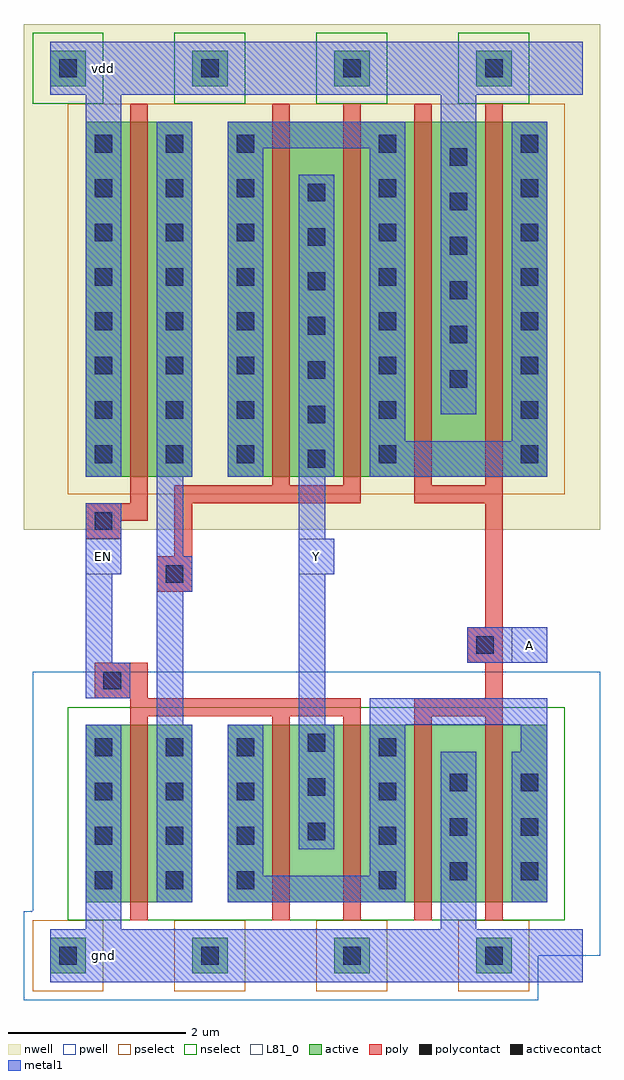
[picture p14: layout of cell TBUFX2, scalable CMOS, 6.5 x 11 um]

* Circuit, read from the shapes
.subckt TBUFX2 A EN Y gnd vdd
M1 n1 EN gnd gnd nfet w=2u l=0.2u
M2 Y EN n2 gnd nfet w=2u l=0.2u m=2
M3 gnd A n2 gnd nfet w=2u l=0.2u m=2
M4 n1 EN vdd vdd pfet w=4u l=0.2u
M5 Y n1 n3 vdd pfet w=4u l=0.2u m=2
M6 vdd A n3 vdd pfet w=4u l=0.2u m=2
.ends

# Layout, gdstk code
import gdstk
lib = gdstk.Library(unit=1e-6, precision=1e-09)
def R(c, l, rs):  # rectangles x0, y0, x1, y1
    for r in rs: c.add(gdstk.rectangle(r[:2], r[2:], *l))
def A(c, l, x, y, w, h, nx, ny, dx, dy):  # array of equal rectangles
    R(c, l, [(x+i*dx, y+j*dy, x+i*dx+w, y+j*dy+h) for i in range(nx) for j in range(ny)])
pwell = (41, 0)
nwell = (42, 0)
active = (43, 0)
pselect = (44, 0)
nselect = (45, 0)
poly = (46, 0)
polycontact = (47, 0)
activecontact = (48, 0)
metal1 = (49, 0)
L81_0 = (81, 0)

tbufx2 = lib.new_cell('TBUFX2')
R(tbufx2, pwell, [(-0.5,-0.5,5.3,0), (-0.5,0,6,0.5), (-0.4,0.5,6,3.2)])
R(tbufx2, nwell, [(-0.5,4.8,6,10.5)])
A(tbufx2, active, -0.2, -0.2, 0.4, 0.4, 4, 2, 1.6, 10)
R(tbufx2, active, [(0.2,0.6,1.4,2.6), (1.8,0.6,5.4,2.6), (0.2,5.4,1.4,9.4), (1.8,5.4,5.4,9.4)])
A(tbufx2, pselect, -0.4, -0.4, 0.8, 0.8, 4, 1, 1.6, 0)
R(tbufx2, pselect, [(0,5.2,5.6,9.6)])
A(tbufx2, nselect, -0.4, 9.6, 0.8, 0.8, 4, 1, 1.6, 0)
R(tbufx2, nselect, [(0,0.4,5.6,2.8)])
A(tbufx2, poly, 2.3, 0.4, 0.2, 2.3, 4, 1, 0.8, 0)
A(tbufx2, poly, 2.3, 5.3, 0.2, 4.3, 4, 1, 0.8, 0)
R(tbufx2, poly, [(0.7,0.4,0.9,2.7), (0.7,2.7,3.3,2.9), (3.9,2.7,4.9,2.9), (0.3,2.9,0.9,3.3), (4.7,2.9,4.9,3.3), (4.5,3.3,4.9,3.7), (4.7,3.7,4.9,5.1), (1,4.1,1.4,4.5), (1.2,4.5,1.4,5.1), (0.2,4.7,0.6,4.9), (0.2,4.9,0.9,5.1), (0.7,5.1,0.9,9.6), (1.2,5.1,3.3,5.3), (3.9,5.1,4.9,5.3)])
R(tbufx2, polycontact, [(0.4,3,0.6,3.2), (4.6,3.4,4.8,3.6), (1.1,4.2,1.3,4.4), (0.3,4.8,0.5,5)])
A(tbufx2, activecontact, -0.1, -0.1, 0.2, 0.2, 4, 2, 1.6, 10)
A(tbufx2, activecontact, 0.3, 0.75, 0.2, 0.2, 3, 4, 0.8, 0.5)
A(tbufx2, activecontact, 3.5, 0.75, 0.2, 0.2, 1, 4, 0, 0.5)
A(tbufx2, activecontact, 4.3, 0.85, 0.2, 0.2, 1, 3, 0, 0.5)
A(tbufx2, activecontact, 5.1, 0.85, 0.2, 0.2, 1, 3, 0, 0.5)
A(tbufx2, activecontact, 2.7, 1.3, 0.2, 0.2, 1, 3, 0, 0.5)
A(tbufx2, activecontact, 2.7, 5.5, 0.2, 0.2, 1, 7, 0, 0.5)
A(tbufx2, activecontact, 0.3, 5.55, 0.2, 0.2, 3, 8, 0.8, 0.5)
A(tbufx2, activecontact, 3.5, 5.55, 0.2, 0.2, 1, 8, 0, 0.5)
A(tbufx2, activecontact, 5.1, 5.55, 0.2, 0.2, 1, 8, 0, 0.5)
A(tbufx2, activecontact, 4.3, 6.4, 0.2, 0.2, 1, 6, 0, 0.5)
R(tbufx2, metal1, [(-0.2,-0.3,5.8,0.3), (0.2,0.3,0.6,2.6), (4.2,0.3,4.6,2.3), (1,0.6,1.4,2.6), (1.8,0.6,3.8,0.9), (5,0.6,5.4,2.3), (1.8,0.9,2.2,2.6), (3.4,0.9,3.8,2.6), (2.6,1.2,3,2.6), (5.1,2.3,5.4,2.6), (1,2.6,1.3,4.1), (2.6,2.6,2.9,4.3), (3.4,2.6,5.4,2.9), (0.2,2.9,0.7,3.3), (0.2,3.3,0.5,4.3), (4.5,3.3,5.4,3.7), (1,4.1,1.4,4.5), (0.2,4.3,0.6,5.1), (2.6,4.3,3,4.7), (1,4.5,1.3,5.4), (2.6,4.7,2.9,5.4), (0.2,5.4,0.6,9.7), (1,5.4,1.4,9.4), (1.8,5.4,2.2,9.1), (2.6,5.4,3,8.8), (3.4,5.4,5.4,5.8), (3.4,5.8,3.8,9.1), (5,5.8,5.4,9.4), (4.2,6.1,4.6,9.7), (1.8,9.1,3.8,9.4), (-0.2,9.7,5.8,10.3)])
R(tbufx2, L81_0, [(5,3.3,5.4,3.7), (0.2,4.3,0.6,4.7), (2.6,4.3,3,4.7)])
tbufx2.add(gdstk.Label('vdd', (0.4,10), layer=49, texttype=0))
tbufx2.add(gdstk.Label('gnd', (0.4,0), layer=49, texttype=0))
tbufx2.add(gdstk.Label('A', (5.2,3.5), layer=49, texttype=0))
tbufx2.add(gdstk.Label('EN', (0.4,4.5), layer=49, texttype=0))
tbufx2.add(gdstk.Label('Y', (2.8,4.5), layer=49, texttype=0))

lib.write_gds('TBUFX2.gds')
